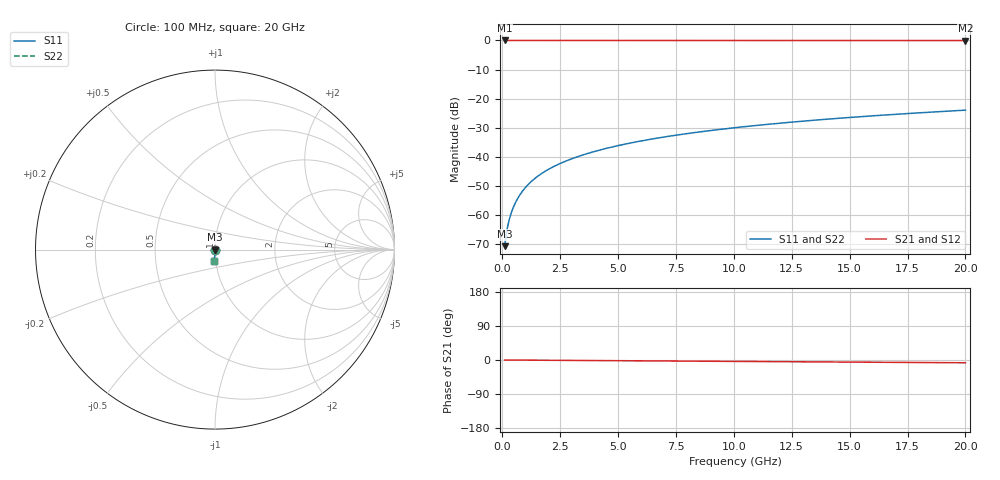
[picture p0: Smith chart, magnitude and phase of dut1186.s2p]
! Touchstone file exported from HFSS 2026.1.0
!  File:  C:/ffzhzh/LocalFiles/Ansys_Project_Files/temp_train_TSV_1186_1783192331_55132.aedt
!  Generated:  03:13:39 AM Jul  5, 2026
!  Design:  TSV
!  Project:  temp_train_TSV_1186_1783192331_55132
! Variables:
!  h_bsmrdl = 2um
!  h_ox = 20um
!  h_rdl = 5um
!  h_sub = 67.21um
!  h_tmrdl = 5um
!  h_tsv = 67.21um
!  h_via = 3um
!  l_bsmrdl = 300um
!  l_sub = 421.44um
!  l_tmrdl = 200um
!  m_sub = 200um
!  pitch = 28.27um
!  r_tsv = 10.72um
!  s_tmrdl = 10um
!  w_bsmrdl = 18um
!  w_sub = 500um
!  w_tmrdl = 12um
!  x_tsv_center1 = 206um
!  x_tsv_center2 = 524um
!  x_tsv_center3 = 736um
!  x_tsv_center4 = 1054um
!  x_tsv_center5 = 1266um
!  x_tsv_center6 = 1584um
# GHz S MA R 50.000000
! Terminal data exported
! Port[1] = TSV1_1_T1
! Port[2] = TSV1_1_T2
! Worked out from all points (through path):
!   200 points, 100 MHz to 20 GHz, reference 50 ohm
!   highest |S21| = 0.00 dB at 100 MHz (marker M1); lowest = 0.0 dB at 20 GHz (marker M2)
!   group delay of S21, straight-line fit = 1.02 ps
!   lowest |S11| = -70.7 dB at 100 MHz (marker M3), VSWR 1.00, Z = 50 - j0.0269 ohm
!   |S11| at or under -10 dB: start of sweep to end of sweep
!   |S22| runs from -70.7 to -24.0 dB; largest |S21 - S12| = 3.2e-15
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0.1  0.0002917 -67.3  0.9999 -0.0  0.9999 -0.0  0.0002917 -67.3
! Gamma 0 0 0 0
! Port Impedance 50 0 50 0
0.2  0.0005576 -76.7  0.9999 -0.1  0.9999 -0.1  0.0005576 -76.7
0.3  0.0008375 -79.6  0.9998 -0.1  0.9998 -0.1  0.0008375 -79.6
0.4  0.001127 -81.0  0.9998 -0.2  0.9998 -0.2  0.001127 -81.0
0.5  0.001425 -81.8  0.9998 -0.2  0.9998 -0.2  0.001425 -81.8
0.7  0.002037 -83.0  0.9997 -0.3  0.9997 -0.3  0.002037 -83.0
0.8  0.002347 -83.5  0.9997 -0.3  0.9997 -0.3  0.002347 -83.5
1  0.002973 -84.3  0.9997 -0.4  0.9997 -0.4  0.002973 -84.3
1.2  0.003602 -85.0  0.9997 -0.5  0.9997 -0.5  0.003602 -85.0
1.4  0.004231 -85.6  0.9996 -0.5  0.9996 -0.5  0.004231 -85.6
1.7  0.005175 -86.3  0.9996 -0.6  0.9996 -0.6  0.005175 -86.3
2  0.006118 -86.8  0.9996 -0.7  0.9996 -0.7  0.006118 -86.8
2.7  0.008319 -87.7  0.9995 -1.0  0.9995 -1.0  0.008319 -87.7
3.5  0.01084 -88.5  0.9994 -1.3  0.9994 -1.3  0.01084 -88.5
4.2  0.01305 -89.0  0.9993 -1.6  0.9993 -1.6  0.01305 -89.0
5  0.01559 -89.5  0.9992 -1.9  0.9992 -1.9  0.01559 -89.5
6.8  0.02132 -90.5  0.999 -2.5  0.999 -2.5  0.02132 -90.5
8.3  0.0261 -91.2  0.9988 -3.1  0.9988 -3.1  0.0261 -91.2
10.1  0.03185 -92.0  0.9986 -3.7  0.9986 -3.7  0.03185 -92.0
13.4  0.04238 -93.5  0.998 -4.9  0.998 -4.9  0.04238 -93.5
16.7  0.0529 -94.8  0.9974 -6.1  0.9974 -6.1  0.0529 -94.8
20  0.0634 -96.1  0.9967 -7.3  0.9967 -7.3  0.0634 -96.1
